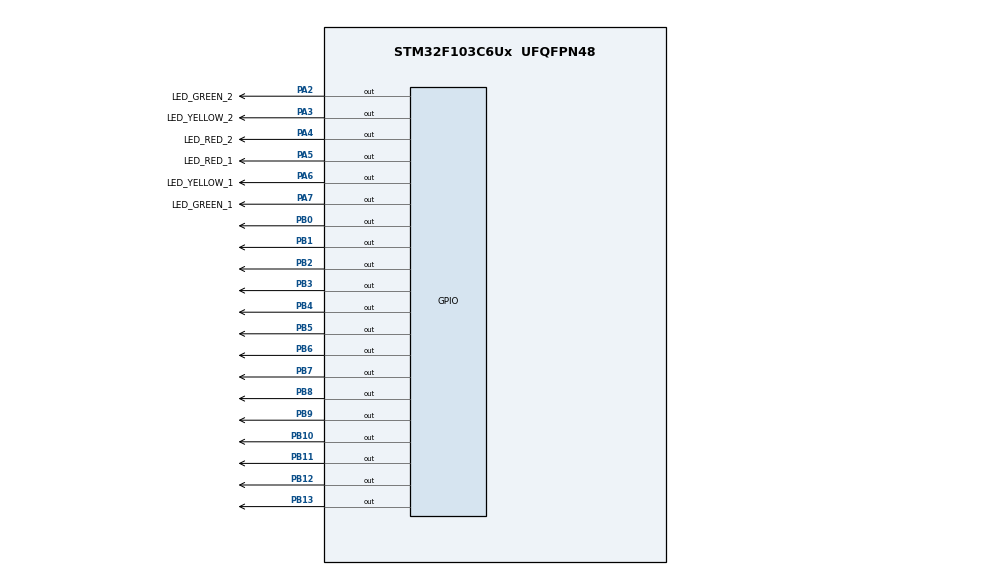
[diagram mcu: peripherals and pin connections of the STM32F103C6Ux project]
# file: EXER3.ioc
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Mcu.Family=STM32F1
Mcu.Name=STM32F103C6Ux
Mcu.Package=UFQFPN48
NVIC.PriorityGroup=NVIC_PRIORITYGROUP_4
PA2.GPIO_Label=LED_GREEN_2
PA2.Signal=GPIO_Output
PA3.GPIO_Label=LED_YELLOW_2
PA3.Signal=GPIO_Output
PA4.GPIO_Label=LED_RED_2
PA4.Signal=GPIO_Output
PA5.GPIO_Label=LED_RED_1
PA5.Signal=GPIO_Output
PA6.GPIO_Label=LED_YELLOW_1
PA6.Signal=GPIO_Output
PA7.GPIO_Label=LED_GREEN_1
PA7.Signal=GPIO_Output
PB0.Signal=GPIO_Output
PB1.Signal=GPIO_Output
PB10.Signal=GPIO_Output
PB11.Signal=GPIO_Output
PB12.Signal=GPIO_Output
PB13.Signal=GPIO_Output
PB2.Signal=GPIO_Output
PB3.Signal=GPIO_Output
PB4.Signal=GPIO_Output
PB5.Signal=GPIO_Output
PB6.Signal=GPIO_Output
PB7.Signal=GPIO_Output
PB8.Signal=GPIO_Output
PB9.Signal=GPIO_Output
ProjectManager.HeapSize=0x200
ProjectManager.StackSize=0x400
ProjectManager.TargetToolchain=STM32CubeIDE
RCC.APB1Freq_Value=8000000
RCC.APB2Freq_Value=8000000
VP_SYS_VS_ND.Mode=No_Debug
board=custom

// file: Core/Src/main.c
/* USER CODE BEGIN Header */
/**
  ******************************************************************************
  * @file           : main.c
  * @brief          : Main program body
  ******************************************************************************
  * @attention
  *
  * <h2><center>&copy; Copyright (c) 2023 STMicroelectronics.
  * All rights reserved.</center></h2>
  *
  * This software component is licensed by ST under BSD 3-Clause license,
  * the "License"; You may not use this file except in compliance with the
  * License. You may obtain a copy of the License at:
  *                        opensource.org/licenses/BSD-3-Clause
  *
  ******************************************************************************
  */
/* USER CODE END Header */
#include "main.h"

void SystemClock_Config(void);
static void MX_GPIO_Init(void);

/* USER CODE BEGIN 0 */
void display7SEG_1(int num){
	switch(num){
		case 1:
			HAL_GPIO_WritePin (GPIOB, GPIO_PIN_0, SET);
			HAL_GPIO_WritePin (GPIOB, GPIO_PIN_1, RESET);
			HAL_GPIO_WritePin (GPIOB, GPIO_PIN_2, RESET);
			HAL_GPIO_WritePin (GPIOB, GPIO_PIN_3, SET);
			HAL_GPIO_WritePin (GPIOB, GPIO_PIN_4, SET);
			HAL_GPIO_WritePin (GPIOB, GPIO_PIN_5, SET);
			HAL_GPIO_WritePin (GPIOB, GPIO_PIN_6, SET);
			break;
		case 2:
			HAL_GPIO_WritePin (GPIOB, GPIO_PIN_0, RESET);
			HAL_GPIO_WritePin (GPIOB, GPIO_PIN_1, RESET);
			HAL_GPIO_WritePin (GPIOB, GPIO_PIN_2, SET);
			HAL_GPIO_WritePin (GPIOB, GPIO_PIN_3, RESET);
			HAL_GPIO_WritePin (GPIOB, GPIO_PIN_4, RESET);
			HAL_GPIO_WritePin (GPIOB, GPIO_PIN_5, SET);
			HAL_GPIO_WritePin (GPIOB, GPIO_PIN_6, RESET);
			break;
		case 3:
			HAL_GPIO_WritePin (GPIOB, GPIO_PIN_0, RESET);
			HAL_GPIO_WritePin (GPIOB, GPIO_PIN_1, RESET);
			HAL_GPIO_WritePin (GPIOB, GPIO_PIN_2, RESET);
			HAL_GPIO_WritePin (GPIOB, GPIO_PIN_3, RESET);
			HAL_GPIO_WritePin (GPIOB, GPIO_PIN_4, SET);
			HAL_GPIO_WritePin (GPIOB, GPIO_PIN_5, SET);
			HAL_GPIO_WritePin (GPIOB, GPIO_PIN_6, RESET);
			break;
		case 4:
			HAL_GPIO_WritePin (GPIOB, GPIO_PIN_0,SET);
			HAL_GPIO_WritePin (GPIOB, GPIO_PIN_1, RESET);
			HAL_GPIO_WritePin (GPIOB, GPIO_PIN_2, RESET);
			HAL_GPIO_WritePin (GPIOB, GPIO_PIN_3, SET);
			HAL_GPIO_WritePin (GPIOB, GPIO_PIN_4, SET);
			HAL_GPIO_WritePin (GPIOB, GPIO_PIN_5, RESET);
			HAL_GPIO_WritePin (GPIOB, GPIO_PIN_6, RESET);
			break;
		case 5:
			HAL_GPIO_WritePin (GPIOB, GPIO_PIN_0, RESET);
			HAL_GPIO_WritePin (GPIOB, GPIO_PIN_1, SET);
			HAL_GPIO_WritePin (GPIOB, GPIO_PIN_2, RESET);
			HAL_GPIO_WritePin (GPIOB, GPIO_PIN_3, RESET);
			HAL_GPIO_WritePin (GPIOB, GPIO_PIN_4, SET);
			HAL_GPIO_WritePin (GPIOB, GPIO_PIN_5, RESET);
			HAL_GPIO_WritePin (GPIOB, GPIO_PIN_6, RESET);
			break;
		case 6:
			HAL_GPIO_WritePin (GPIOB, GPIO_PIN_0, RESET);
			HAL_GPIO_WritePin (GPIOB, GPIO_PIN_1, SET);
			HAL_GPIO_WritePin (GPIOB, GPIO_PIN_2, RESET);
			HAL_GPIO_WritePin (GPIOB, GPIO_PIN_3, RESET);
			HAL_GPIO_WritePin (GPIOB, GPIO_PIN_4, RESET);
			HAL_GPIO_WritePin (GPIOB, GPIO_PIN_5, RESET);
			HAL_GPIO_WritePin (GPIOB, GPIO_PIN_6, RESET);
			break;
		case 7:
			HAL_GPIO_WritePin (GPIOB, GPIO_PIN_0, RESET);
			HAL_GPIO_WritePin (GPIOB, GPIO_PIN_1,RESET);
			HAL_GPIO_WritePin (GPIOB, GPIO_PIN_2, RESET);
			HAL_GPIO_WritePin (GPIOB, GPIO_PIN_3, SET);
			HAL_GPIO_WritePin (GPIOB, GPIO_PIN_4, SET);
			HAL_GPIO_WritePin (GPIOB, GPIO_PIN_5, SET);
			HAL_GPIO_WritePin (GPIOB, GPIO_PIN_6, SET);
			break;
		case 8:
			HAL_GPIO_WritePin (GPIOB, GPIO_PIN_0, RESET);
			HAL_GPIO_WritePin (GPIOB, GPIO_PIN_1, RESET);
			HAL_GPIO_WritePin (GPIOB, GPIO_PIN_2, RESET);
			HAL_GPIO_WritePin (GPIOB, GPIO_PIN_3, RESET);
			HAL_GPIO_WritePin (GPIOB, GPIO_PIN_4, RESET);
			HAL_GPIO_WritePin (GPIOB, GPIO_PIN_5, RESET);
			HAL_GPIO_WritePin (GPIOB, GPIO_PIN_6, RESET);
			break;
		case 9:
			HAL_GPIO_WritePin (GPIOB, GPIO_PIN_0, RESET);
			HAL_GPIO_WritePin (GPIOB, GPIO_PIN_1, RESET);
			HAL_GPIO_WritePin (GPIOB, GPIO_PIN_2,RESET);
			HAL_GPIO_WritePin (GPIOB, GPIO_PIN_3, RESET);
			HAL_GPIO_WritePin (GPIOB, GPIO_PIN_4, SET);
			HAL_GPIO_WritePin (GPIOB, GPIO_PIN_5, RESET);
			HAL_GPIO_WritePin (GPIOB, GPIO_PIN_6, RESET);
			break;
		case 0:
			HAL_GPIO_WritePin (GPIOB, GPIO_PIN_0, RESET);
			HAL_GPIO_WritePin (GPIOB, GPIO_PIN_1, RESET);
			HAL_GPIO_WritePin (GPIOB, GPIO_PIN_2, RESET);
			HAL_GPIO_WritePin (GPIOB, GPIO_PIN_3, RESET);
			HAL_GPIO_WritePin (GPIOB, GPIO_PIN_4, RESET);
			HAL_GPIO_WritePin (GPIOB, GPIO_PIN_5, RESET);
			HAL_GPIO_WritePin (GPIOB, GPIO_PIN_6, SET);
			break;
	}
}
/* USER CODE END 0 */

void display7SEG_2(int num){
	switch(num){
		case 1:
			HAL_GPIO_WritePin (GPIOB, GPIO_PIN_7, SET);
			HAL_GPIO_WritePin (GPIOB, GPIO_PIN_8, RESET);
			HAL_GPIO_WritePin (GPIOB, GPIO_PIN_9, RESET);
			HAL_GPIO_WritePin (GPIOB, GPIO_PIN_10, SET);
			HAL_GPIO_WritePin (GPIOB, GPIO_PIN_11, SET);
			HAL_GPIO_WritePin (GPIOB, GPIO_PIN_12, SET);
			HAL_GPIO_WritePin (GPIOB, GPIO_PIN_13, SET);
			break;
		case 2:
			HAL_GPIO_WritePin (GPIOB, GPIO_PIN_7, RESET);
			HAL_GPIO_WritePin (GPIOB, GPIO_PIN_8, RESET);
			HAL_GPIO_WritePin (GPIOB, GPIO_PIN_9, SET);
			HAL_GPIO_WritePin (GPIOB, GPIO_PIN_10, RESET);
			HAL_GPIO_WritePin (GPIOB, GPIO_PIN_11, RESET);
			HAL_GPIO_WritePin (GPIOB, GPIO_PIN_12, SET);
			HAL_GPIO_WritePin (GPIOB, GPIO_PIN_13, RESET);
			break;
		case 3:
			HAL_GPIO_WritePin (GPIOB, GPIO_PIN_7, RESET);
			HAL_GPIO_WritePin (GPIOB, GPIO_PIN_8, RESET);
			HAL_GPIO_WritePin (GPIOB, GPIO_PIN_9, RESET);
			HAL_GPIO_WritePin (GPIOB, GPIO_PIN_10, RESET);
			HAL_GPIO_WritePin (GPIOB, GPIO_PIN_11, SET);
			HAL_GPIO_WritePin (GPIOB, GPIO_PIN_12, SET);
			HAL_GPIO_WritePin (GPIOB, GPIO_PIN_13, RESET);
			break;
		case 4:
			HAL_GPIO_WritePin (GPIOB, GPIO_PIN_7,SET);
			HAL_GPIO_WritePin (GPIOB, GPIO_PIN_8, RESET);
			HAL_GPIO_WritePin (GPIOB, GPIO_PIN_9, RESET);
			HAL_GPIO_WritePin (GPIOB, GPIO_PIN_10, SET);
			HAL_GPIO_WritePin (GPIOB, GPIO_PIN_11, SET);
			HAL_GPIO_WritePin (GPIOB, GPIO_PIN_12, RESET);
			HAL_GPIO_WritePin (GPIOB, GPIO_PIN_13, RESET);
			break;
		case 5:
			HAL_GPIO_WritePin (GPIOB, GPIO_PIN_7, RESET);
			HAL_GPIO_WritePin (GPIOB, GPIO_PIN_8, SET);
			HAL_GPIO_WritePin (GPIOB, GPIO_PIN_9, RESET);
			HAL_GPIO_WritePin (GPIOB, GPIO_PIN_10, RESET);
			HAL_GPIO_WritePin (GPIOB, GPIO_PIN_11, SET);
			HAL_GPIO_WritePin (GPIOB, GPIO_PIN_12, RESET);
			HAL_GPIO_WritePin (GPIOB, GPIO_PIN_13, RESET);
			break;
		case 6:
			HAL_GPIO_WritePin (GPIOB, GPIO_PIN_7, RESET);
			HAL_GPIO_WritePin (GPIOB, GPIO_PIN_8, SET);
			HAL_GPIO_WritePin (GPIOB, GPIO_PIN_9, RESET);
			HAL_GPIO_WritePin (GPIOB, GPIO_PIN_10, RESET);
			HAL_GPIO_WritePin (GPIOB, GPIO_PIN_11, RESET);
			HAL_GPIO_WritePin (GPIOB, GPIO_PIN_12, RESET);
			HAL_GPIO_WritePin (GPIOB, GPIO_PIN_13, RESET);
			break;
		case 7:
			HAL_GPIO_WritePin (GPIOB, GPIO_PIN_7, RESET);
			HAL_GPIO_WritePin (GPIOB, GPIO_PIN_8, RESET);
			HAL_GPIO_WritePin (GPIOB, GPIO_PIN_9, RESET);
			HAL_GPIO_WritePin (GPIOB, GPIO_PIN_10, SET);
			HAL_GPIO_WritePin (GPIOB, GPIO_PIN_11, SET);
			HAL_GPIO_WritePin (GPIOB, GPIO_PIN_12, SET);
			HAL_GPIO_WritePin (GPIOB, GPIO_PIN_13, SET);
			break;
		case 8:
			HAL_GPIO_WritePin (GPIOB, GPIO_PIN_7, RESET);
			HAL_GPIO_WritePin (GPIOB, GPIO_PIN_8, RESET);
			HAL_GPIO_WritePin (GPIOB, GPIO_PIN_9, RESET);
			HAL_GPIO_WritePin (GPIOB, GPIO_PIN_10, RESET);
			HAL_GPIO_WritePin (GPIOB, GPIO_PIN_11, RESET);
			HAL_GPIO_WritePin (GPIOB, GPIO_PIN_12, RESET);
			HAL_GPIO_WritePin (GPIOB, GPIO_PIN_13, RESET);
			break;
		case 9:
			HAL_GPIO_WritePin (GPIOB, GPIO_PIN_7, RESET);
			HAL_GPIO_WritePin (GPIOB, GPIO_PIN_8, RESET);
			HAL_GPIO_WritePin (GPIOB, GPIO_PIN_9,RESET);
			HAL_GPIO_WritePin (GPIOB, GPIO_PIN_10, RESET);
			HAL_GPIO_WritePin (GPIOB, GPIO_PIN_11, SET);
			HAL_GPIO_WritePin (GPIOB, GPIO_PIN_12, RESET);
			HAL_GPIO_WritePin (GPIOB, GPIO_PIN_13, RESET);
			break;
		case 0:
			HAL_GPIO_WritePin (GPIOB, GPIO_PIN_7, RESET);
			HAL_GPIO_WritePin (GPIOB, GPIO_PIN_8, RESET);
			HAL_GPIO_WritePin (GPIOB, GPIO_PIN_9, RESET);
			HAL_GPIO_WritePin (GPIOB, GPIO_PIN_10, RESET);
			HAL_GPIO_WritePin (GPIOB, GPIO_PIN_11, RESET);
			HAL_GPIO_WritePin (GPIOB, GPIO_PIN_12, RESET);
			HAL_GPIO_WritePin (GPIOB, GPIO_PIN_13, SET);
			break;
	}
}

int main(void)
{

  /* MCU Configuration--------------------------------------------------------*/

  /* Reset of all peripherals, Initializes the Flash interface and the Systick. */
  HAL_Init();

  /* Configure the system clock */
  SystemClock_Config();

  /* Initialize all configured peripherals */
  MX_GPIO_Init();
//  int cnt = 10;
//  int led_count = 5;
//  	  HAL_GPIO_WritePin ( LED_RED_1_GPIO_Port , LED_RED_1_Pin , GPIO_PIN_RESET );
//
//  	  HAL_GPIO_WritePin ( LED_GREEN_2_GPIO_Port , LED_GREEN_2_Pin , GPIO_PIN_RESET );
//  	  HAL_GPIO_WritePin ( LED_YELLOW_1_GPIO_Port , LED_YELLOW_1_Pin , GPIO_PIN_SET );
//  	  HAL_GPIO_WritePin ( LED_RED_2_GPIO_Port , LED_RED_2_Pin , GPIO_PIN_SET );
//  	  HAL_GPIO_WritePin ( LED_GREEN_1_GPIO_Port , LED_GREEN_1_Pin , GPIO_PIN_SET );
//  	  HAL_GPIO_WritePin ( LED_YELLOW_2_GPIO_Port , LED_YELLOW_2_Pin , GPIO_PIN_SET );
//
//  /* Infinite loop */
//  /* USER CODE BEGIN WHILE */
//  while (1)
  //{
    /* USER CODE END WHILE */

//	  HAL_GPIO_WritePin ( LED_RED_1_GPIO_Port , LED_RED_1_Pin , GPIO_PIN_RESET );

//	  HAL_GPIO_WritePin ( LED_GREEN_2_GPIO_Port , LED_GREEN_2_Pin , GPIO_PIN_RESET );
//	  HAL_GPIO_WritePin ( LED_YELLOW_1_GPIO_Port , LED_YELLOW_1_Pin , GPIO_PIN_SET );
//	  HAL_GPIO_WritePin ( LED_RED_2_GPIO_Port , LED_RED_2_Pin , GPIO_PIN_SET );
//	  HAL_GPIO_WritePin ( LED_GREEN_1_GPIO_Port , LED_GREEN_1_Pin , GPIO_PIN_SET );
//	  HAL_GPIO_WritePin ( LED_YELLOW_2_GPIO_Port , LED_YELLOW_2_Pin , GPIO_PIN_SET );
//	  display7SEG(red_t);
//	  for(int i=5;i>2;i--){
//		  display7SEG_1(i);
//		  HAL_Delay(1000);
//	  }
//
//	  HAL_GPIO_WritePin ( LED_YELLOW_2_GPIO_Port , LED_YELLOW_2_Pin , GPIO_PIN_RESET );
//	  HAL_GPIO_WritePin ( LED_GREEN_2_GPIO_Port , LED_GREEN_2_Pin , GPIO_PIN_SET );
//	  for(int i=2;i>=0;i--){
//	  	  display7SEG_1(i);
//	  	  HAL_Delay(1000);
//	  }
//	  HAL_GPIO_WritePin ( LED_YELLOW_2_GPIO_Port , LED_YELLOW_2_Pin , GPIO_PIN_SET );
//	  HAL_GPIO_WritePin ( LED_GREEN_1_GPIO_Port , LED_GREEN_1_Pin , GPIO_PIN_RESET );
//	  HAL_GPIO_WritePin ( LED_RED_2_GPIO_Port , LED_RED_2_Pin , GPIO_PIN_RESET );
//	  HAL_GPIO_WritePin ( LED_RED_1_GPIO_Port , LED_RED_1_Pin , GPIO_PIN_SET );
//
//	  for(int i=3;i>=0;i--){
//	      display7SEG_1(i);
//	  	  HAL_Delay(1000);
//	  }
//	  HAL_GPIO_WritePin ( LED_GREEN_1_GPIO_Port , LED_GREEN_1_Pin , GPIO_PIN_SET );
//	  HAL_GPIO_WritePin ( LED_YELLOW_1_GPIO_Port , LED_YELLOW_1_Pin , GPIO_PIN_RESET );
//	  for(int i=2;i>=0;i--){
//	  	  display7SEG_1(i);
//	  	  display7SEG_2(i);
//	  	  HAL_Delay(1000);
//	  }

//
//	  if(cnt < 0 ){
//		  cnt = 10;
//	  }
//
//	  if(cnt>=0){
//	      if(cnt==10){
//			  led_count=5;
//			  HAL_GPIO_WritePin ( LED_RED_1_GPIO_Port , LED_RED_1_Pin , GPIO_PIN_RESET );
//			  HAL_GPIO_WritePin ( LED_GREEN_2_GPIO_Port , LED_GREEN_2_Pin , GPIO_PIN_RESET );
//			  HAL_GPIO_WritePin ( LED_YELLOW_1_GPIO_Port , LED_YELLOW_1_Pin , GPIO_PIN_SET );
//			  HAL_GPIO_WritePin ( LED_RED_2_GPIO_Port , LED_RED_2_Pin , GPIO_PIN_SET );
//			  HAL_GPIO_WritePin ( LED_GREEN_1_GPIO_Port , LED_GREEN_1_Pin , GPIO_PIN_SET );
//			  HAL_GPIO_WritePin ( LED_YELLOW_2_GPIO_Port , LED_YELLOW_2_Pin , GPIO_PIN_SET );
//		  }
//		  if(cnt ==7){
//			  HAL_GPIO_WritePin ( LED_YELLOW_2_GPIO_Port , LED_YELLOW_2_Pin , GPIO_PIN_RESET );
//			  HAL_GPIO_WritePin ( LED_GREEN_2_GPIO_Port , LED_GREEN_2_Pin , GPIO_PIN_SET );
//		  }
//		  if(cnt==5){
//			  led_count = 3;
//			  HAL_GPIO_WritePin ( LED_YELLOW_2_GPIO_Port , LED_YELLOW_2_Pin , GPIO_PIN_SET );
//			  HAL_GPIO_WritePin ( LED_GREEN_1_GPIO_Port , LED_GREEN_1_Pin , GPIO_PIN_RESET );
//			  HAL_GPIO_WritePin ( LED_RED_2_GPIO_Port , LED_RED_2_Pin , GPIO_PIN_RESET );
//			  HAL_GPIO_WritePin ( LED_RED_1_GPIO_Port , LED_RED_1_Pin , GPIO_PIN_SET );
//
//		  }
//		  if (cnt == 2){
//		  	  led_count= 2;
//		  	  HAL_GPIO_WritePin ( LED_GREEN_1_GPIO_Port , LED_GREEN_1_Pin , GPIO_PIN_SET );
//		  	  HAL_GPIO_WritePin ( LED_YELLOW_1_GPIO_Port , LED_YELLOW_1_Pin , GPIO_PIN_RESET );
//		  }
//		  if(cnt==0){
//			  led_count=5;
//			  			  HAL_GPIO_WritePin ( LED_RED_1_GPIO_Port , LED_RED_1_Pin , GPIO_PIN_RESET );
//			  			  HAL_GPIO_WritePin ( LED_GREEN_2_GPIO_Port , LED_GREEN_2_Pin , GPIO_PIN_RESET );
//			  			  HAL_GPIO_WritePin ( LED_YELLOW_1_GPIO_Port , LED_YELLOW_1_Pin , GPIO_PIN_SET );
//			  			  HAL_GPIO_WritePin ( LED_RED_2_GPIO_Port , LED_RED_2_Pin , GPIO_PIN_SET );
//			  			  HAL_GPIO_WritePin ( LED_GREEN_1_GPIO_Port , LED_GREEN_1_Pin , GPIO_PIN_SET );
//			  			  HAL_GPIO_WritePin ( LED_YELLOW_2_GPIO_Port , LED_YELLOW_2_Pin , GPIO_PIN_SET );
//		  }
//		  cnt--;
//	  }
//	  display7SEG_1 (led_count--);
//	  HAL_Delay(1000);
//
//
//
//    /* USER CODE BEGIN 3 */
//  }

  int count = 0;
    HAL_GPIO_TogglePin(GPIOA, GPIO_PIN_14);
    HAL_GPIO_TogglePin(GPIOA, GPIO_PIN_15);
    HAL_GPIO_TogglePin(GPIOB, GPIO_PIN_13);
    HAL_GPIO_TogglePin(GPIOB, GPIO_PIN_14);
    while (1)
    {
      /* USER CODE END WHILE */
  	  if(count == 3){
  		  HAL_GPIO_TogglePin(GPIOB, GPIO_PIN_14);
  		  HAL_GPIO_TogglePin(GPIOB, GPIO_PIN_15);
  	  }
  	  if(count == 5){
  		  HAL_GPIO_TogglePin(GPIOB, GPIO_PIN_13);
  		  HAL_GPIO_TogglePin(GPIOB, GPIO_PIN_14);
  		  HAL_GPIO_TogglePin(GPIOA, GPIO_PIN_13);
  		  HAL_GPIO_TogglePin(GPIOA, GPIO_PIN_15);
  	  }
  	  if(count == 8){
  		  HAL_GPIO_TogglePin(GPIOA, GPIO_PIN_14);
  		  HAL_GPIO_TogglePin(GPIOA, GPIO_PIN_15);
  	  }
  	  if(count == 10){
  		  HAL_GPIO_TogglePin(GPIOA, GPIO_PIN_13);
  		  HAL_GPIO_TogglePin(GPIOA, GPIO_PIN_14);
  		  HAL_GPIO_TogglePin(GPIOB, GPIO_PIN_13);
  		  HAL_GPIO_TogglePin(GPIOB, GPIO_PIN_15);
  		  count = 0;
  	  }
  	  if(count < 5){
  		  display7SEG(5 - count);
  	  }
  	  else if(count < 8){
  		  display7SEG(8 - count);
  	  }
  	  else if(count < 10){
  		  display7SEG(10 - count);
  	  }
  	  count++;
  	  HAL_Delay(1000);
  /* USER CODE END 3 */
}

void SystemClock_Config(void)
{
  RCC_OscInitTypeDef RCC_OscInitStruct = {0};
  RCC_ClkInitTypeDef RCC_ClkInitStruct = {0};

  /** Initializes the RCC Oscillators according to the specified parameters
  * in the RCC_OscInitTypeDef structure.
  */
  RCC_OscInitStruct.OscillatorType = RCC_OSCILLATORTYPE_HSI;
  RCC_OscInitStruct.HSIState = RCC_HSI_ON;
  RCC_OscInitStruct.HSICalibrationValue = RCC_HSICALIBRATION_DEFAULT;
  RCC_OscInitStruct.PLL.PLLState = RCC_PLL_NONE;
  if (HAL_RCC_OscConfig(&RCC_OscInitStruct) != HAL_OK)
  {
    Error_Handler();
  }
  /** Initializes the CPU, AHB and APB buses clocks
  */
  RCC_ClkInitStruct.ClockType = RCC_CLOCKTYPE_HCLK|RCC_CLOCKTYPE_SYSCLK
                              |RCC_CLOCKTYPE_PCLK1|RCC_CLOCKTYPE_PCLK2;
  RCC_ClkInitStruct.SYSCLKSource = RCC_SYSCLKSOURCE_HSI;
  RCC_ClkInitStruct.AHBCLKDivider = RCC_SYSCLK_DIV1;
  RCC_ClkInitStruct.APB1CLKDivider = RCC_HCLK_DIV1;
  RCC_ClkInitStruct.APB2CLKDivider = RCC_HCLK_DIV1;

  if (HAL_RCC_ClockConfig(&RCC_ClkInitStruct, FLASH_LATENCY_0) != HAL_OK)
  {
    Error_Handler();
  }
}

static void MX_GPIO_Init(void)
{
  GPIO_InitTypeDef GPIO_InitStruct = {0};

  /* GPIO Ports Clock Enable */
  __HAL_RCC_GPIOA_CLK_ENABLE();
  __HAL_RCC_GPIOB_CLK_ENABLE();

  /*Configure GPIO pin Output Level */
  HAL_GPIO_WritePin(GPIOA, LED_GREEN_2_Pin|LED_YELLOW_2_Pin|LED_RED_2_Pin|LED_RED_1_Pin
                          |LED_YELLOW_1_Pin|LED_GREEN_1_Pin, GPIO_PIN_RESET);

  /*Configure GPIO pin Output Level */
  HAL_GPIO_WritePin(GPIOB, GPIO_PIN_0|GPIO_PIN_1|GPIO_PIN_2|GPIO_PIN_10
                          |GPIO_PIN_11|GPIO_PIN_12|GPIO_PIN_13|GPIO_PIN_3
                          |GPIO_PIN_4|GPIO_PIN_5|GPIO_PIN_6|GPIO_PIN_7
                          |GPIO_PIN_8|GPIO_PIN_9, GPIO_PIN_RESET);

  /*Configure GPIO pins : LED_GREEN_2_Pin LED_YELLOW_2_Pin LED_RED_2_Pin LED_RED_1_Pin
                           LED_YELLOW_1_Pin LED_GREEN_1_Pin */
  GPIO_InitStruct.Pin = LED_GREEN_2_Pin|LED_YELLOW_2_Pin|LED_RED_2_Pin|LED_RED_1_Pin
                          |LED_YELLOW_1_Pin|LED_GREEN_1_Pin;
  GPIO_InitStruct.Mode = GPIO_MODE_OUTPUT_PP;
  GPIO_InitStruct.Pull = GPIO_NOPULL;
  GPIO_InitStruct.Speed = GPIO_SPEED_FREQ_LOW;
  HAL_GPIO_Init(GPIOA, &GPIO_InitStruct);

  /*Configure GPIO pins : PB0 PB1 PB2 PB10
                           PB11 PB12 PB13 PB3
                           PB4 PB5 PB6 PB7
                           PB8 PB9 */
  GPIO_InitStruct.Pin = GPIO_PIN_0|GPIO_PIN_1|GPIO_PIN_2|GPIO_PIN_10
                          |GPIO_PIN_11|GPIO_PIN_12|GPIO_PIN_13|GPIO_PIN_3
                          |GPIO_PIN_4|GPIO_PIN_5|GPIO_PIN_6|GPIO_PIN_7
                          |GPIO_PIN_8|GPIO_PIN_9;
  GPIO_InitStruct.Mode = GPIO_MODE_OUTPUT_PP;
  GPIO_InitStruct.Pull = GPIO_NOPULL;
  GPIO_InitStruct.Speed = GPIO_SPEED_FREQ_LOW;
  HAL_GPIO_Init(GPIOB, &GPIO_InitStruct);

}

void Error_Handler(void)
{
  __disable_irq();
  while (1)
  {
  }
}

/************************ (C) COPYRIGHT STMicroelectronics *****END OF FILE****/
